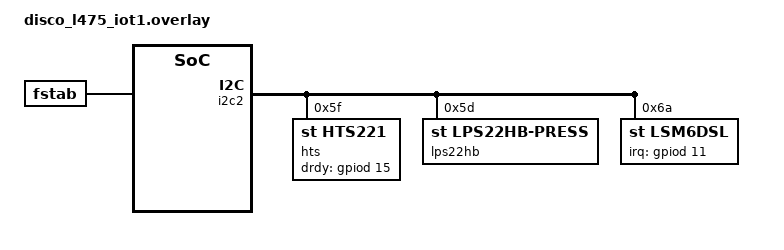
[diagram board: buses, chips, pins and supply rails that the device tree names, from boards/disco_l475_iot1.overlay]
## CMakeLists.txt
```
cmake_minimum_required(VERSION 3.20.0)
find_package(Zephyr REQUIRED HINTS $ENV{ZEPHYR_BASE})
project(Sensor_Data)

FILE(GLOB app_sources src/*.c)
target_sources(app PRIVATE ${app_sources})
```

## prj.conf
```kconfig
CONFIG_MAIN_STACK_SIZE=4096

CONFIG_I2C=y
CONFIG_SENSOR=y
CONFIG_CBPRINTF_FP_SUPPORT=y
CONFIG_LOG=y
CONFIG_SHELL=y

CONFIG_FLASH=y
CONFIG_FLASH_MAP=y
CONFIG_FILE_SYSTEM=y
CONFIG_FILE_SYSTEM_LITTLEFS=y
CONFIG_FILE_SYSTEM_SHELL=y
```

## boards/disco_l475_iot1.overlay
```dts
/ {
    aliases {
        ht-sensor = &hts;
        pressure-sensor = &lps22hb;
        imu-sensor = &lsm6dsl;
    };
};

&i2c2 {

    hts: hts221@5f {
        compatible = "st,hts221";
        reg = <0x5f>;
        drdy-gpios = <&gpiod 15 GPIO_ACTIVE_HIGH>;
    };

    lps22hb: lps22hb-press@5d {
        compatible = "st,lps22hb-press";
        reg = <0x5d>;
    };

    lsm6dsl: lsm6dsl@6a {
        compatible = "st,lsm6dsl";
        reg = <0x6a>;
        irq-gpios = <&gpiod 11 GPIO_ACTIVE_HIGH>;
    };
};

&flash0 {
    partitions {
        compatible = "fixed-partitions";
        #address-cells = <1>;
        #size-cells = <1>;

        boot_partition: partition@0 {
            label = "mcuboot";
            reg = <0x0 DT_SIZE_K(64)>;
            read-only;
        };

        slot0_partition: partition@10000 {
            label = "image-0";
            reg = <0x10000 DT_SIZE_K(64)>;
        };

        storage1_partition: partition@20000 {
            label = "storage1";
            reg = <0x20000 DT_SIZE_K(64)>;
        };

        lfs1_partition: partition@30000 {
            label = "lfs1";
            reg = <0x30000 DT_SIZE_K(800)>;
        };
    };
};

/ {
    /* Filesystem table with full LittleFS config */
    fstab {
        compatible = "zephyr,fstab";

        lfs1: lfs1 {
            compatible = "zephyr,fstab,littlefs";
            partition = <&lfs1_partition>;
            mount-point = "/lfs1";
            automount;

            /* Hardware-specific config for STM32L475 */
            read-size = <8>;
            prog-size = <8>;
            cache-size = <64>;
            lookahead-size = <16>;
            block-cycles = <512>;
        };
    };
};
```

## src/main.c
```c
#include "hum_temp_sensor.h"
#include "imu_sensor.h"
#include "pressure_sensor.h"
#include "sensor_shared.h"
#include "sensor_storage.h"

#include <zephyr/kernel.h>
#include <zephyr/sys/util.h>

#include <zephyr/logging/log.h>
#include <zephyr/shell/shell.h>

#include <stdbool.h>

#define STACK_SIZE 1024
#define PRIORITY   5
#define SLEEP_TIME K_SECONDS(5)

#define STORAGE_STACK_SIZE 1024 * 4
#define STORAGE_PRIORITY   4
#define STORAGE_INTERVAL   K_MINUTES(1)

K_THREAD_STACK_DEFINE(hum_temp_stack, STACK_SIZE);
K_THREAD_STACK_DEFINE(pressure_stack, STACK_SIZE);
K_THREAD_STACK_DEFINE(imu_stack, STACK_SIZE);
K_THREAD_STACK_DEFINE(storage_stack, STORAGE_STACK_SIZE);

static struct k_thread hum_temp_thread_data;
static struct k_thread pressure_thread_data;
static struct k_thread imu_thread_data;
static struct k_thread storage_thread_data;

static k_tid_t hum_temp_tid, pressure_tid, imu_tid, storage_tid;

static bool terminate_hum_temp_thread = false;
static bool terminate_pressure_thread = false;
static bool terminate_imu_thread = false;
static bool terminate_storage_thread = false;

LOG_MODULE_REGISTER(main);

int main(void)
{
    k_mutex_init(&sensor_data_mutex);

    return 0;
}

static void hun_temp_sensor_thread(void *a, void *b, void *c)
{
    LOG_INF("Humidity-Temperature sensor thread started.");

    while (!terminate_hum_temp_thread) {
        hum_temp_sensor_process_sample();
        k_sleep(SLEEP_TIME);
    }

    LOG_INF("Humidity-Temperature sensor thread stopped.");
}

static void pressure_sensor_thread(void *a, void *b, void *c)
{
    LOG_INF("Pressure sensor thread started.");

    while (!terminate_pressure_thread) {
        pressure_sensor_process_sample();
        k_sleep(SLEEP_TIME);
    }

    LOG_INF("Pressure sensor thread stopped.");
}

static void imu_sensor_thread(void *a, void *b, void *c)
{
    LOG_INF("IMU sensor thread started.");

    while (!terminate_imu_thread) {
        imu_sensor_sample_process();
        k_sleep(SLEEP_TIME);
    }

    LOG_INF("IMU sensor thread stopped.");
}

static int shell_start_hum_temp_thread(const struct shell *sh, size_t argc, char **argv, void *data)
{
    terminate_hum_temp_thread = false;
    hum_temp_tid = k_thread_create(&hum_temp_thread_data, hum_temp_stack, K_THREAD_STACK_SIZEOF(hum_temp_stack),
                                   hun_temp_sensor_thread, NULL, NULL, NULL, PRIORITY, 0, K_NO_WAIT);
    return 0;
}

static int shell_start_pressure_thread(const struct shell *sh, size_t argc, char **argv, void *data)
{
    terminate_pressure_thread = false;
    pressure_tid = k_thread_create(&pressure_thread_data, pressure_stack, K_THREAD_STACK_SIZEOF(pressure_stack),
                                   pressure_sensor_thread, NULL, NULL, NULL, PRIORITY, 0, K_NO_WAIT);
    return 0;
}

static int shell_start_imu_thread(const struct shell *sh, size_t argc, char **argv, void *data)
{
    terminate_imu_thread = false;
    imu_tid = k_thread_create(&imu_thread_data, imu_stack, K_THREAD_STACK_SIZEOF(imu_stack), (void *)imu_sensor_thread,
                              NULL, NULL, NULL, PRIORITY, 0, K_NO_WAIT);
    return 0;
}

static int shell_start_all_sensors(const struct shell *sh, size_t argc, char **argv, void *data)
{
    terminate_hum_temp_thread = false;
    terminate_pressure_thread = false;
    terminate_imu_thread = false;

    hum_temp_tid = k_thread_create(&hum_temp_thread_data, hum_temp_stack, K_THREAD_STACK_SIZEOF(hum_temp_stack),
                                   hun_temp_sensor_thread, NULL, NULL, NULL, PRIORITY, 0, K_NO_WAIT);
    pressure_tid = k_thread_create(&pressure_thread_data, pressure_stack, K_THREAD_STACK_SIZEOF(pressure_stack),
                                   pressure_sensor_thread, NULL, NULL, NULL, PRIORITY, 0, K_NO_WAIT);
    imu_tid = k_thread_create(&imu_thread_data, imu_stack, K_THREAD_STACK_SIZEOF(imu_stack), imu_sensor_thread, NULL,
                              NULL, NULL, PRIORITY, 0, K_NO_WAIT);
    return 0;
}

static int shell_stop_hum_temp_thread(const struct shell *sh, size_t argc, char **argv)
{
    terminate_hum_temp_thread = true;
    k_thread_join(hum_temp_tid, K_FOREVER);
    return 0;
}

static int shell_stop_pressure_thread(const struct shell *sh, size_t argc, char **argv)
{
    terminate_pressure_thread = true;
    k_thread_join(pressure_tid, K_FOREVER);
    return 0;
}

static int shell_stop_imu_thread(const struct shell *sh, size_t argc, char **argv)
{
    terminate_imu_thread = true;
    k_thread_join(imu_tid, K_FOREVER);
    return 0;
}

static int shell_stop_all_sensors(const struct shell *sh, size_t argc, char **argv)
{
    terminate_hum_temp_thread = true;
    terminate_pressure_thread = true;
    terminate_imu_thread = true;

    k_thread_join(hum_temp_tid, K_FOREVER);
    k_thread_join(pressure_tid, K_FOREVER);
    k_thread_join(imu_tid, K_FOREVER);

    return 0;
}

static void sensor_storage_thread(void *a, void *b, void *c)
{
    LOG_INF("Sensor storage thread started.");
    k_mutex_lock(&sensor_data_mutex, K_FOREVER);
    littlefs_save_sensor_data(&sensor_data);
    k_mutex_unlock(&sensor_data_mutex);
    LOG_INF("Sensor storage thread stopped.");
}

static int shell_start_storage_thread(const struct shell *sh, size_t argc, char **argv, void *data)
{
    terminate_storage_thread = false;
    storage_tid = k_thread_create(&storage_thread_data, storage_stack, K_THREAD_STACK_SIZEOF(storage_stack),
                                  sensor_storage_thread, NULL, NULL, NULL, STORAGE_PRIORITY, 0, K_NO_WAIT);
    return 0;
}

static int shell_stop_storage_thread(const struct shell *sh, size_t argc, char **argv)
{
    terminate_storage_thread = true;
    k_thread_join(storage_tid, K_FOREVER);
    return 0;
}

static int shell_fetch_sample(const struct shell *sh, size_t argc, char **argv)
{
    int ret;
    ret = hun_temp_sensor_init();
    if (ret < 0) {
        LOG_ERR("Humidity-Temperature Sensor init failed");
        return ret;
    }

    ret = pressure_sensor_init();
    if (ret < 0) {
        LOG_ERR("Pressure Sensor init failed");
        return ret;
    }

    ret = imu_sensor_init();
    if (ret < 0) {
        LOG_ERR("IMU Sensor init failed");
        return ret;
    }
    return 0;
}
SHELL_STATIC_SUBCMD_SET_CREATE(sub_demo, 
    SHELL_CMD(fetch_sample, NULL, "Start HTS221 thread", shell_fetch_sample),
    SHELL_CMD(start_hum_temp, NULL, "Start HTS221 thread", shell_start_hum_temp_thread),
    SHELL_CMD(start_pressure, NULL, "Start LPS22HB thread", shell_start_pressure_thread),
    SHELL_CMD(start_imu, NULL, "Start LSM6DSL thread", shell_start_imu_thread),
    SHELL_CMD(start, NULL, "Start all sensor threads", shell_start_all_sensors),
    SHELL_CMD(stop_hum_temp, NULL, "Stop HTS221 thread", shell_stop_hum_temp_thread),
    SHELL_CMD(stop_pressure, NULL, "Stop LPS22HB thread", shell_stop_pressure_thread),
    SHELL_CMD(stop_imu, NULL, "Stop LSM6DSL thread", shell_stop_imu_thread),
    SHELL_CMD(stop, NULL, "Stop all sensor thread", shell_stop_all_sensors),
    SHELL_CMD(start_storage, NULL, "Start sensor storage thread", shell_start_storage_thread),
    SHELL_CMD(stop_storage, NULL, "Stop sensor storage thread", shell_stop_storage_thread), SHELL_SUBCMD_SET_END);
/* Creating root (level 0) command "demo" */
SHELL_CMD_REGISTER(sensor, &sub_demo, "Sensor Demo commands", NULL);
```

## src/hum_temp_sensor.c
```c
#include "hum_temp_sensor.h"
#include "sensor_shared.h"

#include <zephyr/device.h>
#include <zephyr/drivers/sensor.h>
#include <zephyr/kernel.h>
#include <zephyr/logging/log.h>
#include <zephyr/sys/util.h>

LOG_MODULE_REGISTER(hum_temp);

#if DT_NODE_EXISTS(DT_ALIAS(ht_sensor))
#define HUM_TEMP_NODE DT_ALIAS(ht_sensor)
const struct device *const hts_dev = DEVICE_DT_GET(DT_ALIAS(ht_sensor));
#else
#error ("Humidity-Temperature sensor not found.");
#endif

void hum_temp_sensor_process_sample(void)
{
    if (!device_is_ready(hts_dev)) {
        LOG_ERR("sensor: %s device not ready.", hts_dev->name);
        return;
    }

    if (sensor_sample_fetch(hts_dev) < 0) {
        LOG_ERR("Sensor sample update error");
        return;
    }

    struct sensor_value temp, hum;
    if (sensor_channel_get(hts_dev, SENSOR_CHAN_AMBIENT_TEMP, &temp) < 0) {
        LOG_ERR("Cannot read HTS221 temperature channel");
        return;
    }

    if (sensor_channel_get(hts_dev, SENSOR_CHAN_HUMIDITY, &hum) < 0) {
        LOG_ERR("Cannot read HTS221 humidity channel");
        return;
    }

    k_mutex_lock(&sensor_data_mutex, K_FOREVER);
    sensor_data.temperature = sensor_value_to_double(&temp);
    sensor_data.humidity = sensor_value_to_double(&hum);
    k_mutex_unlock(&sensor_data_mutex);

    /* display temperature */
    LOG_INF("Temperature:%.1f C", sensor_value_to_double(&temp));

    /* display humidity */
    LOG_INF("Relative Humidity:%.1f%%", sensor_value_to_double(&hum));
}

int hun_temp_sensor_init(void)
{
    if (!device_is_ready(hts_dev)) {
        LOG_ERR("sensor: %s device not ready.", hts_dev->name);
        return -1;
    }

    hum_temp_sensor_process_sample();

    return 0;
}
```

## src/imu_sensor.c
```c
#include "imu_sensor.h"
#include "sensor_shared.h"

#include <zephyr/device.h>
#include <zephyr/drivers/sensor.h>
#include <zephyr/kernel.h>
#include <zephyr/logging/log.h>
#include <zephyr/sys/util.h>

LOG_MODULE_REGISTER(imu);

#if DT_NODE_EXISTS(DT_ALIAS(imu_sensor))
#define IMU_NODE DT_ALIAS(imu_sensor)
const struct device *const imu_dev = DEVICE_DT_GET(DT_ALIAS(imu_sensor));
#else
#error ("IMU sensor not found.");
#endif

void imu_sensor_sample_process(void)
{
    if (sensor_sample_fetch(imu_dev) < 0) {
        LOG_ERR("Sensor sample update error");
        return;
    }
    char out_str[64];
    struct sensor_value accel_x, accel_y, accel_z;
    struct sensor_value gyro_x, gyro_y, gyro_z;

    /* lsm6dsl accel */
    sensor_sample_fetch_chan(imu_dev, SENSOR_CHAN_ACCEL_XYZ);
    sensor_channel_get(imu_dev, SENSOR_CHAN_ACCEL_X, &accel_x);
    sensor_channel_get(imu_dev, SENSOR_CHAN_ACCEL_Y, &accel_y);
    sensor_channel_get(imu_dev, SENSOR_CHAN_ACCEL_Z, &accel_z);

    sprintf(out_str, "accel x:%f ms/2 y:%f ms/2 z:%f ms/2", sensor_value_to_double(&accel_x),
            sensor_value_to_double(&accel_y), sensor_value_to_double(&accel_z));
    LOG_INF("%s", out_str);

    k_mutex_lock(&sensor_data_mutex, K_FOREVER);
    sensor_data.accel_x = sensor_value_to_double(&accel_x);
    sensor_data.accel_y = sensor_value_to_double(&accel_y);
    sensor_data.accel_z = sensor_value_to_double(&accel_z);
    k_mutex_unlock(&sensor_data_mutex);

    /* lsm6dsl gyro */
    sensor_sample_fetch_chan(imu_dev, SENSOR_CHAN_GYRO_XYZ);
    sensor_channel_get(imu_dev, SENSOR_CHAN_GYRO_X, &gyro_x);
    sensor_channel_get(imu_dev, SENSOR_CHAN_GYRO_Y, &gyro_y);
    sensor_channel_get(imu_dev, SENSOR_CHAN_GYRO_Z, &gyro_z);

    sprintf(out_str, "gyro x:%f dps y:%f dps z:%f dps", sensor_value_to_double(&gyro_x),
            sensor_value_to_double(&gyro_y), sensor_value_to_double(&gyro_z));
    LOG_INF("%s", out_str);

    k_mutex_lock(&sensor_data_mutex, K_FOREVER);
    sensor_data.gyro_x = sensor_value_to_double(&gyro_x);
    sensor_data.gyro_y = sensor_value_to_double(&gyro_y);
    sensor_data.gyro_z = sensor_value_to_double(&gyro_z);
    k_mutex_unlock(&sensor_data_mutex);
}

int imu_sensor_init(void)
{

    if (!device_is_ready(imu_dev)) {
        LOG_ERR("sensor: device not ready.");
        return -1;
    }

    struct sensor_value odr_attr;

    /* set accel/gyro sampling frequency to 104 Hz */
    odr_attr.val1 = 104;
    odr_attr.val2 = 0;

    if (sensor_attr_set(imu_dev, SENSOR_CHAN_ACCEL_XYZ, SENSOR_ATTR_SAMPLING_FREQUENCY, &odr_attr) < 0) {
        LOG_ERR("Cannot set sampling frequency for accelerometer.");
        return -1;
    }

    if (sensor_attr_set(imu_dev, SENSOR_CHAN_GYRO_XYZ, SENSOR_ATTR_SAMPLING_FREQUENCY, &odr_attr) < 0) {
        LOG_ERR("Cannot set sampling frequency for gyro.");
        return -1;
    }

    imu_sensor_sample_process();
    return 0;
}
```

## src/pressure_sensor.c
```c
#include "pressure_sensor.h"
#include "sensor_shared.h"

#include <zephyr/device.h>
#include <zephyr/drivers/sensor.h>
#include <zephyr/kernel.h>
#include <zephyr/sys/util.h>

#include <zephyr/logging/log.h>

LOG_MODULE_REGISTER(pressure);

#if DT_NODE_EXISTS(DT_ALIAS(pressure_sensor))
#define PRESSURE_NODE DT_ALIAS(pressure_sensor)
const struct device *const pressure_dev = DEVICE_DT_GET(DT_ALIAS(pressure_sensor));
#else
#error ("Pressure sensor not found.");
#endif

void pressure_sensor_process_sample(void)
{
    if (!device_is_ready(pressure_dev)) {
        LOG_ERR("sensor: %s device not ready.", pressure_dev->name);
        return;
    }

    if (sensor_sample_fetch(pressure_dev) < 0) {
        LOG_INF("Sensor sample update error");
        return;
    }

    struct sensor_value pressure;
    if (sensor_channel_get(pressure_dev, SENSOR_CHAN_PRESS, &pressure) < 0) {
        LOG_ERR("Cannot read pressure channel");
        return;
    }

    k_mutex_lock(&sensor_data_mutex, K_FOREVER);
    sensor_data.pressure = sensor_value_to_double(&pressure);
    k_mutex_unlock(&sensor_data_mutex);

    /* display pressure */
    LOG_INF("Pressure:%.1f kPa", sensor_value_to_double(&pressure));
}

int pressure_sensor_init(void)
{
    if (!device_is_ready(pressure_dev)) {
        LOG_ERR("sensor: %s device not ready.", pressure_dev->name);
        return -1;
    }

    pressure_sensor_process_sample();

    return 0;
}
```

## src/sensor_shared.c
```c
#include "sensor_shared.h"

struct sensor_data_t sensor_data;
struct k_mutex sensor_data_mutex;
```

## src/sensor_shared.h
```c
#ifndef SENSOR_SHARED_H
#define SENSOR_SHARED_H

#include <zephyr/kernel.h>

struct sensor_data_t {
    float temperature;
    float humidity;
    float pressure;
    float accel_x;
    float accel_y;
    float accel_z;
    float gyro_x;
    float gyro_y;
    float gyro_z;
};

extern struct sensor_data_t sensor_data;
extern struct k_mutex sensor_data_mutex;

#endif
```

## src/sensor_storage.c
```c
#include "sensor_shared.h"
#include <zephyr/fs/fs.h>
#include <zephyr/logging/log.h>
#include <zephyr/storage/flash_map.h>
#include <stdio.h>

LOG_MODULE_REGISTER(sensor_storage);

#define SENSOR_DATA_FILE "/lfs1/sensor_data.txt"
#define LINE_BUFFER_SIZE 256

int littlefs_save_sensor_data(const struct sensor_data_t *data)
{
    struct fs_file_t file;
    int rc;
    char line_buffer[LINE_BUFFER_SIZE];

    int len = snprintf(line_buffer, LINE_BUFFER_SIZE,
                       "Temperature: %.2f, Humidity: %.2f, Pressure: %.2f, "
                       "Accel X: %.2f, Accel Y: %.2f, Accel Z: %.2f, "
                       "Gyro X: %.2f, Gyro Y: %.2f, Gyro Z: %.2f\n",
                       (double)data->temperature, (double)data->humidity, (double)data->pressure, (double)data->accel_x,
                       (double)data->accel_y, (double)data->accel_z, (double)data->gyro_x, (double)data->gyro_y,
                       (double)data->gyro_z);

    if (len < 0 || len >= LINE_BUFFER_SIZE) {
        LOG_ERR("Failed to format sensor data line");
        return -EINVAL;
    }

    fs_file_t_init(&file);
    LOG_INF("Saving sensor data to LittleFS");

    rc = fs_open(&file, SENSOR_DATA_FILE, FS_O_CREATE | FS_O_WRITE | FS_O_APPEND);
    if (rc < 0) {
        LOG_ERR("fs_open() Failed (error: %d)", rc);
        return rc;
    }

    LOG_INF("File opened successfully, writing data");

    rc = fs_write(&file, line_buffer, len);
    if (rc < 0) {
        LOG_ERR("fs_write() Failed (error: %d)", rc);
        fs_close(&file);
        return rc;
    }

    rc = fs_close(&file);
    if (rc < 0) {
        LOG_ERR("Failed to close file (error: %d)", rc);
        return rc;
    }

    LOG_INF("Sensor data saved successfully");
    return 0;
}
```

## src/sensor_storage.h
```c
#ifndef SENSOR_STORAGE_H
#define SENSOR_STORAGE_H

int littlefs_save_sensor_data(const struct sensor_data_t *data);

#endif /* SENSOR_STORAGE_H */
```
